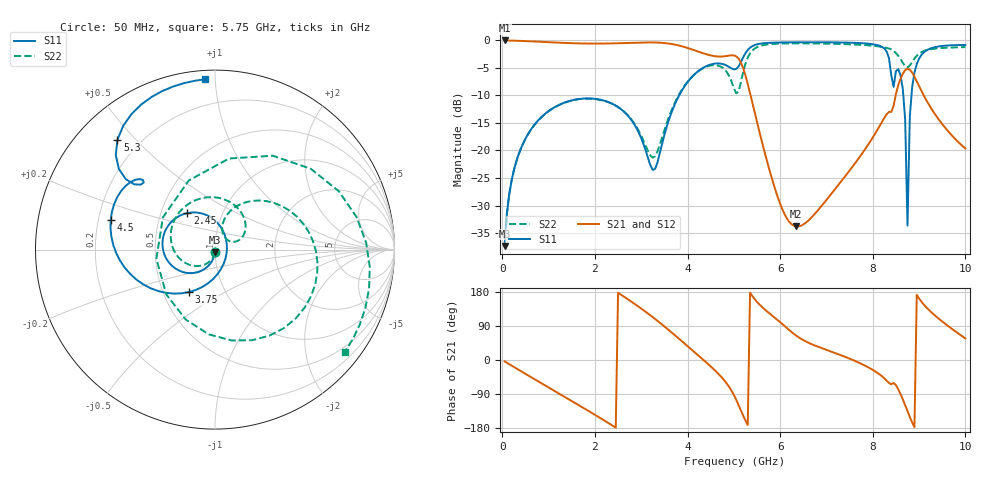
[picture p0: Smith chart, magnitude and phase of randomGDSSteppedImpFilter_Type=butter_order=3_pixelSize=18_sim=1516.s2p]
! freq	dB(S11)	phase(S11)	dB(S12)	phase(S12)
!  dB(S21)	phase(S21)	dB(S22)	phase(S22)
!S-par simulation data
#  GHz  S  DB  R 50
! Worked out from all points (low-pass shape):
!   200 points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, 50 MHz to 10 GHz, reference 50 ohm
!   highest |S21| = -0.01 dB at 50 MHz (marker M1); lowest = -33.8 dB at 6.35 GHz (marker M2)
!   |S21| within 3 dB of the highest: start of sweep to 5.065 GHz
!   lowest |S11| = -37.4 dB at 50 MHz (marker M3), VSWR 1.03, Z = 49.9 - j1.35 ohm
!   |S11| at or under -10 dB: start of sweep to 3.819 GHz; 8.66 GHz to 8.836 GHz (176.2 MHz wide, 2.01 % of centre)
!   |S22| runs from -37.4 to -0.5 dB; largest |S21 - S12| = 0
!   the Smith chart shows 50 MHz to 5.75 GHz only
!   S11 on the Smith chart (normalised r, x): 50 MHz: 1.00, -0.03; 2.45 GHz: 0.68, +0.30; 3.75 GHz: 0.68, -0.35; 4.5 GHz: 0.25, +0.13; 5.3 GHz: 0.12, +0.44; 5.75 GHz: 0.05, +0.94
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0.05  -37.38 -91.4  -0.01 -3.7  -0.01 -3.7  -37.39 -92.9
0.5  -17.86 -119.7  -0.12 -36.6  -0.12 -36.6  -17.90 -134.2
1.75  -10.57 169.8  -0.56 -126.3  -0.56 -126.3  -10.60 116.8
2.45  -11.85 127.2  -0.53 -178.7  -0.53 -178.7  -11.86 56.0
3.4  -20.53 -59.9  -0.41 98.6  -0.41 98.6  -19.00 68.8
3.75  -11.16 -121.3  -0.80 63.1  -0.80 63.1  -10.91 61.4
4.5  -4.38 164.1  -2.73 -16.9  -2.73 -16.9  -4.57 -19.3
4.85  -4.59 138.6  -2.82 -62.6  -2.82 -62.6  -5.77 -79.7
5.05  -5.20 138.8  -2.89 -104.6  -2.89 -104.6  -9.62 -171.2
5.3  -1.74 131.6  -7.91 -171.7  -7.91 -171.7  -3.12 40.1
5.75  -0.44 93.3  -22.97 124.9  -22.97 124.9  -0.71 -38.3
6.35  -0.34 57.4  -33.81 64.0  -33.81 64.0  -0.53 -84.1
6.7  -0.34 39.0  -31.97 40.7  -31.97 40.7  -0.55 -104.9
7.8  -0.52 -17.4  -20.19 -12.9  -20.19 -12.9  -0.84 -168.9
8.35  -3.20 -71.1  -12.99 -60.7  -12.99 -60.7  -1.48 149.3
8.65  -8.91 -87.4  -6.02 -104.0  -6.02 -104.0  -4.10 124.0
8.7  -14.49 -99.8  -5.39 -119.1  -5.39 -119.1  -4.72 124.4
8.75  -33.65 -11.6  -5.16 -134.9  -5.16 -134.9  -4.92 126.7
8.8  -13.77 41.2  -5.33 -150.4  -5.33 -150.4  -4.58 128.4
8.95  -4.30 10.1  -7.42 171.8  -7.42 171.8  -2.80 119.1
9.4  -1.13 -33.9  -14.09 111.5  -14.09 111.5  -1.44 64.1
10  -0.83 -62.3  -19.64 56.7  -19.64 56.7  -1.22 -7.1
